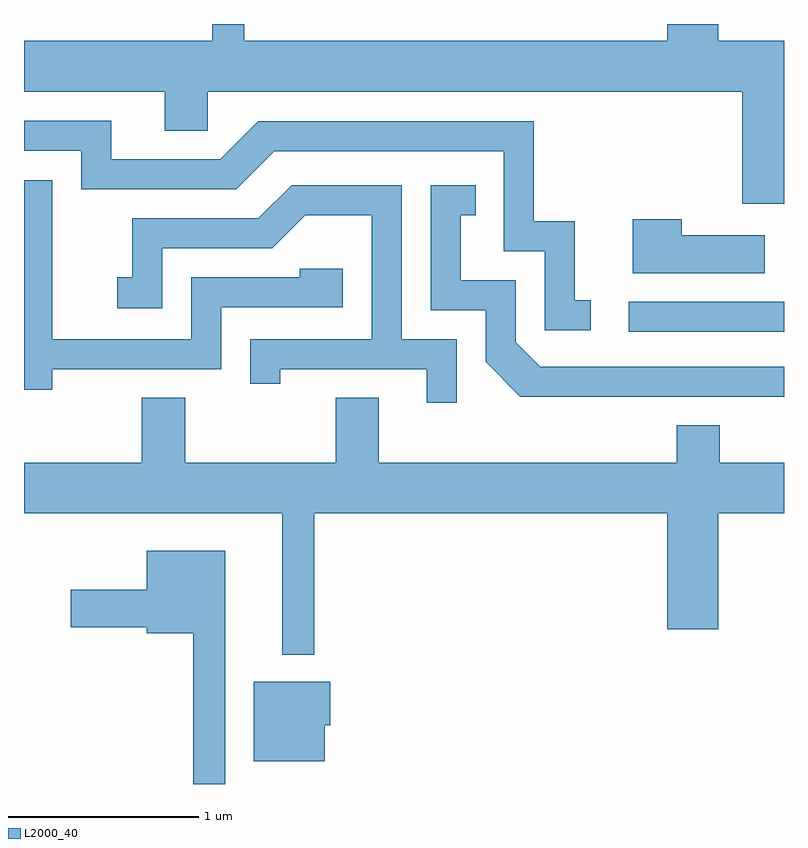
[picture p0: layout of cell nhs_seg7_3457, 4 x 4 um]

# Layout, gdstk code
import gdstk
lib = gdstk.Library(unit=1e-6, precision=1e-09)
def R(c, l, rs):  # rectangles x0, y0, x1, y1
    for r in rs: c.add(gdstk.rectangle(r[:2], r[2:], *l))
def P(c, l, *ps):  # polygons
    for p in ps: c.add(gdstk.Polygon(p, *l))
L2000_40 = (2000, 40)

nhs_seg7_3457 = lib.new_cell('nhs_seg7_3457')
R(nhs_seg7_3457, L2000_40, [(294.793,1688.631,295.611,1688.789)])
P(nhs_seg7_3457, L2000_40, [(295.611,1690.164),(295.264,1690.164),(295.264,1690.252),(294.996,1690.252),(294.996,1690.164),(292.769,1690.164),(292.769,1690.252),(292.601,1690.252),(292.601,1690.164),(291.611,1690.164),(291.611,1689.896),(292.351,1689.896),(292.351,1689.691),(292.579,1689.691),(292.579,1689.896),(295.391,1689.896),(295.391,1689.306),(295.611,1689.306)],
  [(294.593,1688.799),(294.509,1688.799),(294.509,1689.214),(294.294,1689.214),(294.294,1689.739),(292.844,1689.739),(292.644,1689.539),(292.069,1689.539),(292.069,1689.744),(291.611,1689.744),(291.611,1689.586),(291.911,1689.586),(291.911,1689.381),(292.727,1689.381),(292.927,1689.581),(294.136,1689.581),(294.136,1689.056),(294.351,1689.056),(294.351,1688.641),(294.593,1688.641)],
  [(291.759,1688.436),(292.649,1688.436),(292.649,1688.761),(293.289,1688.761),(293.289,1688.964),(293.061,1688.964),(293.061,1688.919),(292.491,1688.919),(292.491,1688.594),(291.759,1688.594),(291.759,1689.429),(291.611,1689.429),(291.611,1688.326),(291.759,1688.326)],
  [(295.611,1688.449),(294.327,1688.449),(294.199,1688.577),(294.199,1688.904),(293.909,1688.904),(293.909,1689.246),(293.988,1689.246),(293.988,1689.404),(293.751,1689.404),(293.751,1688.746),(294.041,1688.746),(294.041,1688.474),(294.224,1688.291),(295.611,1688.291)],
  [(293.889,1688.594),(293.599,1688.594),(293.599,1689.404),(293.019,1689.404),(292.844,1689.229),(292.181,1689.229),(292.181,1688.919),(292.103,1688.919),(292.103,1688.756),(292.339,1688.756),(292.339,1689.071),(292.917,1689.071),(293.092,1689.246),(293.441,1689.246),(293.441,1688.594),(292.801,1688.594),(292.801,1688.358),(292.959,1688.358),(292.959,1688.436),(293.731,1688.436),(293.731,1688.258),(293.889,1688.258)],
  [(295.509,1689.139),(295.074,1689.139),(295.074,1689.224),(294.816,1689.224),(294.816,1688.941),(295.509,1688.941)],
  [(292.971,1686.933),(293.139,1686.933),(293.139,1687.676),(294.996,1687.676),(294.996,1687.066),(295.264,1687.066),(295.264,1687.676),(295.611,1687.676),(295.611,1687.944),(295.274,1687.944),(295.274,1688.139),(295.046,1688.139),(295.046,1687.944),(293.479,1687.944),(293.479,1688.284),(293.251,1688.284),(293.251,1687.944),(292.459,1687.944),(292.459,1688.284),(292.231,1688.284),(292.231,1687.944),(291.611,1687.944),(291.611,1687.676),(292.971,1687.676)],
  [(292.669,1687.479),(292.256,1687.479),(292.256,1687.274),(291.856,1687.274),(291.856,1687.076),(292.256,1687.076),(292.256,1687.046),(292.501,1687.046),(292.501,1686.252),(292.669,1686.252)],
  [(293.194,1686.561),(293.224,1686.561),(293.224,1686.789),(292.821,1686.789),(292.821,1686.371),(293.194,1686.371)])

lib.write_gds('nhs_seg7_3457.gds')
